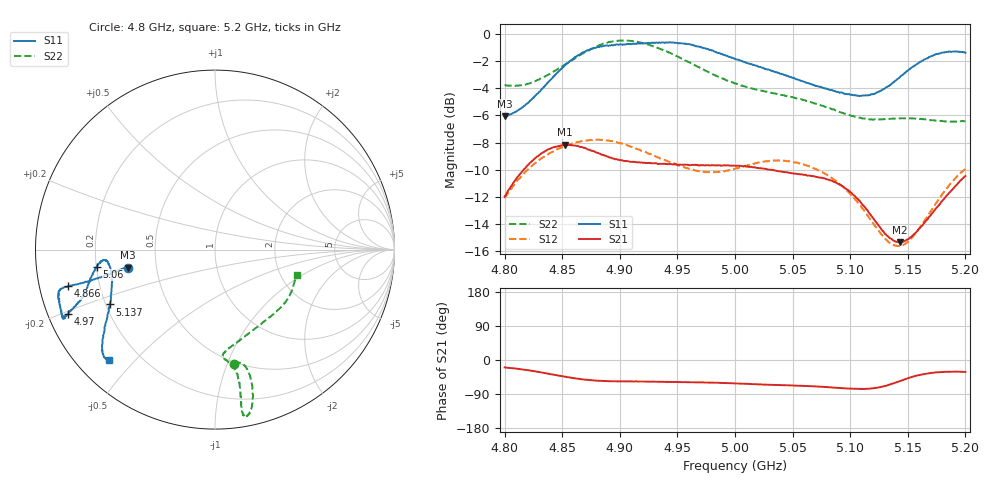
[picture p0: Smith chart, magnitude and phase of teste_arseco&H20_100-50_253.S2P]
! Network Analyzer HP8722D
! Hewlett-Packard
! Data name: Linha & Wilkinson
! Saver's name: Rodrigo Anjos
! Comments: Teste da utilização de aquisição
! continua pelo VNA HP8722D
! Time and date: 6/5/2025 14:40
!  Frequency  S11  S21  S12  S22
# HZ  S  MA R 50
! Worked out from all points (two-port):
!   401 points, 4.8 GHz to 5.2 GHz, reference 50 ohm
!   highest |S21| = -8.16 dB at 4.852 GHz (marker M1); lowest = -15.3 dB at 5.143 GHz (marker M2)
!   |S21| within 3 dB of the highest: 4.806 GHz to 5.092 GHz (286.4 MHz wide, 5.79 % of centre); 5.191749 GHz to end of sweep
!   lowest |S11| = -6.1 dB at 4.8 GHz (marker M3), VSWR 2.97, Z = 17 - j4.57 ohm
!   |S11| at or under -10 dB: nowhere
!   |S22| runs from -6.5 to -0.5 dB; largest |S21 - S12| = 0.62
!   S11 on the Smith chart (normalised r, x): 4.8 GHz: 0.34, -0.09; 4.866 GHz: 0.09, -0.12; 4.97 GHz: 0.06, -0.21; 5.06 GHz: 0.20, -0.07; 5.137 GHz: 0.22, -0.23; 5.2 GHz: 0.09, -0.42
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4.8e9  0.4968 -168.2  0.2517 -19.7  0.2486 -140.9  0.6479 -80.3
4.826e9  0.5878 -167.3  0.3476 -29.6  0.3334 -144.6  0.6681 -75.8
4.852e9  0.7634 -165.9  0.391 -43.8  0.3861 -149.4  0.7691 -74.6
4.866e9  0.8428 -166.0  0.3834 -50.3  0.4024 -151.9  0.8377 -75.3
4.867e9  0.8505 -165.8  0.384 -50.9  0.4027 -152.0  0.8437 -75.4
4.899e9  0.9113 -162.9  0.3443 -56.6  0.3974 -156.7  0.9446 -79.1
4.915e9  0.9206 -159.5  0.337 -56.8  0.377 -157.2  0.9349 -80.3
4.934e9  0.9287 -156.4  0.3325 -57.5  0.3507 -155.7  0.8834 -80.5
4.97e9  0.895 -156.4  0.3291 -59.2  0.3127 -147.1  0.7468 -79.6
5e9  0.8091 -159.0  0.3274 -61.8  0.3194 -137.2  0.6562 -81.3
5.036e9  0.7221 -165.7  0.3136 -66.0  0.3425 -134.3  0.6021 -85.7
5.06e9  0.666 -171.7  0.3029 -68.2  0.3304 -136.1  0.5699 -84.2
5.067e9  0.6522 -173.0  0.3003 -69.2  0.323 -136.8  0.5584 -82.7
5.084e9  0.6219 -174.6  0.2888 -72.5  0.2951 -138.4  0.5281 -76.3
5.102e9  0.5961 -171.7  0.2575 -75.9  0.2531 -138.7  0.4985 -65.9
5.116e9  0.5943 -165.6  0.2208 -75.9  0.2124 -135.5  0.4855 -55.7
5.134e9  0.6444 -154.2  0.1778 -65.1  0.1706 -120.8  0.4863 -43.4
5.137e9  0.6609 -152.5  0.1744 -62.2  0.1678 -116.9  0.4881 -41.5
5.143e9  0.6922 -149.3  0.1713 -56.0  0.1658 -109.0  0.4891 -38.1
5.155e9  0.7585 -144.1  0.1826 -43.5  0.1807 -94.0  0.4884 -31.9
5.174e9  0.8393 -138.5  0.2271 -32.8  0.2367 -80.3  0.4794 -23.9
5.2e9  0.8516 -133.7  0.3 -31.4  0.3184 -76.9  0.4778 -17.5
